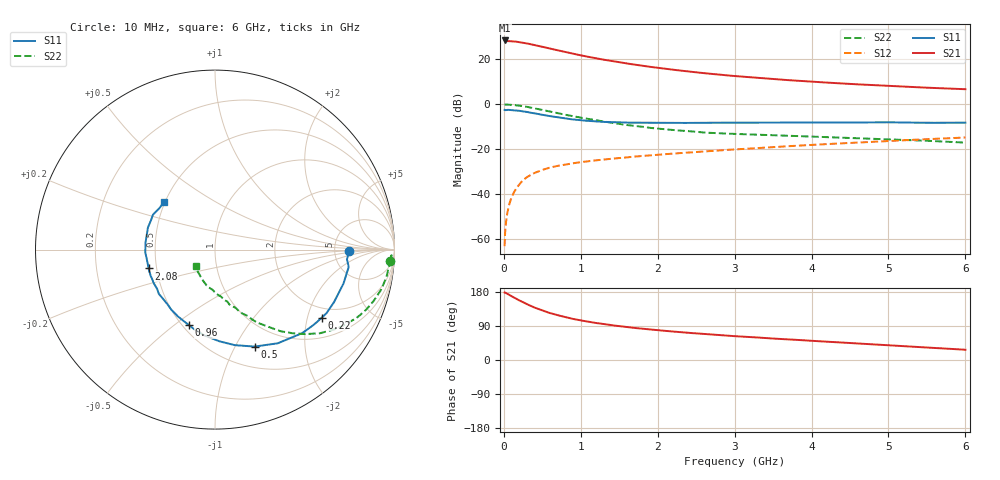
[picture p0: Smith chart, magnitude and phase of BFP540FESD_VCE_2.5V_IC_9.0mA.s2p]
! Infineon Technologies  Discrete & RF Semiconductors
! BFP540FESD
! VCE =  2.5 V,  IC =  9.0 mA
! Common Emitter S-Parameters:  Nov 2015
# GHz  S  MA  R  50
!  f  S11  S21  S12  S22
! GHz  MAG  ANG  MAG  ANG  MAG  ANG  MAG  ANG
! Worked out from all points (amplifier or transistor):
!   210 points, 10 MHz to 6 GHz, reference 50 ohm
!   highest |S21| = 28.3 dB at 10 MHz (marker M1)
!   |S21| within 3 dB of that: start of sweep to 527.7 MHz
!   unconditionally stable (mu >= 1): 2.283 GHz to end of sweep
!   at 185 MHz: K = 0.13, MSG = 32.0 dB, |S12| = -36.4 dB
!   at 1.52 GHz: K = 0.81, MSG = 21.2 dB, |S12| = -23.9 dB
!   at 6 GHz: K = 1.23, MAG = 7.8 dB, |S12| = -14.8 dB
!   S11 on the Smith chart (normalised r, x): 10 MHz: 6.95, -0.29; 220 MHz: 1.63, -2.46; 500 MHz: 0.73, -1.20; 960 MHz: 0.54, -0.57; 2.08 GHz: 0.45, -0.11; 6 GHz: 0.49, +0.31
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0.01  0.7489 -0.7  26.11 178.2  0.0007 83.4  0.9794 -3.6
0.02  0.737 -4.2  25.13 177.6  0.0017 85.7  0.9842 -1.8
0.05  0.7512 -7.4  25.35 174.2  0.0042 87.3  0.9759 -4.6
0.145  0.7272 -22.3  24.73 163.5  0.0121 81.4  0.9529 -13.2
0.22  0.7052 -32.5  23.67 155.3  0.018 75.4  0.9182 -19.6
0.32  0.6615 -46.1  22.09 145.5  0.0251 69.8  0.8613 -27.2
0.4  0.6283 -56.2  20.72 138.3  0.0298 66.5  0.8125 -32.7
0.5  0.5836 -67.8  19 130.5  0.0346 61.8  0.7462 -38.7
0.6  0.5436 -78.3  17.23 123.8  0.0391 58.6  0.6861 -43.3
0.7  0.5117 -87.2  15.78 118.2  0.0427 56.9  0.634 -47.3
0.8  0.4813 -97.2  14.44 112.9  0.0455 55.1  0.5826 -51.3
0.96  0.446 -108.8  12.6 106.1  0.0504 53.1  0.5176 -55.7
1.02  0.4359 -113.0  12.01 103.8  0.0521 52.7  0.4961 -57.5
1.2  0.4142 -125.9  10.45 97.6  0.0566 50.9  0.4391 -62.1
1.4  0.3985 -136.2  9.13 91.9  0.0613 50.5  0.3878 -66.8
1.7  0.3892 -150.7  7.579 84.6  0.0685 49.5  0.3282 -73.4
2.02  0.3852 -162.8  6.378 78.2  0.0757 49.1  0.2849 -79.5
2.08  0.3843 -164.1  6.195 77.2  0.0771 49.0  0.2785 -80.3
3.1  0.3887 173.0  4.099 61.8  0.1011 46.9  0.216 -97.6
4.1  0.3928 160.6  3.093 49.5  0.1273 43.7  0.1881 -109.8
5.1  0.3941 149.2  2.511 37.6  0.1554 37.9  0.1634 -122.0
6  0.3889 136.7  2.154 27.1  0.182 32.2  0.1401 -138.0
